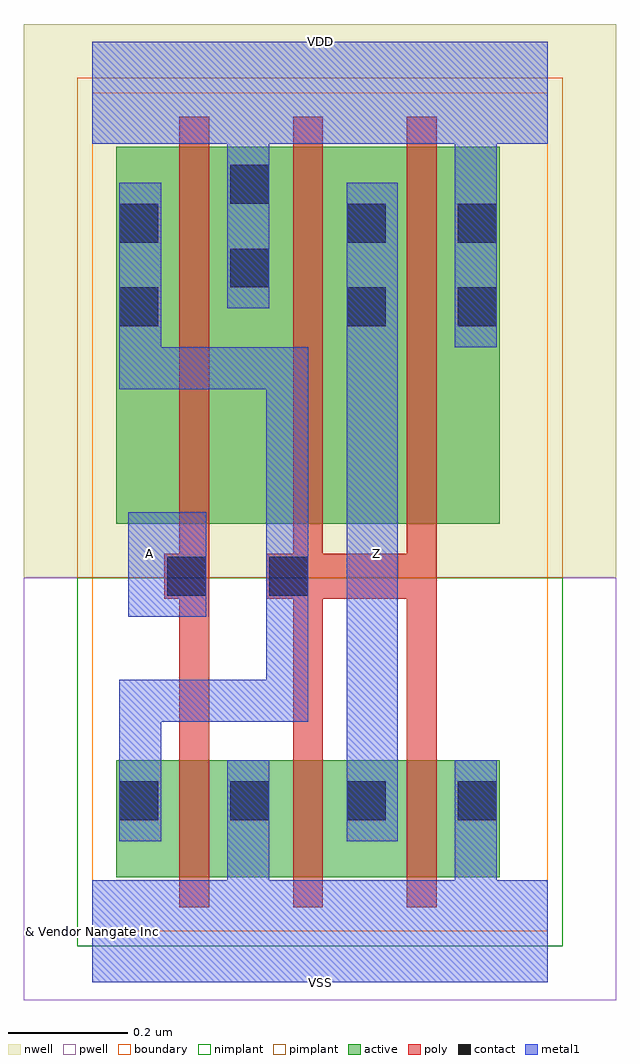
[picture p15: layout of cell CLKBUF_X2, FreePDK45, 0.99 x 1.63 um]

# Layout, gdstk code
import gdstk
lib = gdstk.Library(unit=1e-6, precision=1e-10)
def R(c, l, rs):  # rectangles x0, y0, x1, y1
    for r in rs: c.add(gdstk.rectangle(r[:2], r[2:], *l))
def P(c, l, *ps):  # polygons
    for p in ps: c.add(gdstk.Polygon(p, *l))
active = (1, 0)
pwell = (2, 0)
nwell = (3, 0)
nimplant = (4, 0)
pimplant = (5, 0)
poly = (9, 0)
contact = (10, 0)
metal1 = (11, 0)
boundary = (235, 0)

clkbuf_x2 = lib.new_cell('CLKBUF_X2')
R(clkbuf_x2, active, [(0.04,0.09,0.68,0.285), (0.04,0.68,0.68,1.31)])
R(clkbuf_x2, pwell, [(-0.115,-0.115,0.875,0.59)])
R(clkbuf_x2, nwell, [(-0.115,0.59,0.875,1.515)])
R(clkbuf_x2, nimplant, [(-0.025,-0.025,0.785,0.59)])
R(clkbuf_x2, pimplant, [(-0.025,0.59,0.785,1.425)])
P(clkbuf_x2, poly, [(0.145,0.04),(0.145,0.555),(0.12,0.555),(0.12,0.63),(0.145,0.63),(0.145,1.36),(0.195,1.36),(0.195,0.04)],
  [(0.335,0.04),(0.335,0.555),(0.29,0.555),(0.29,0.63),(0.335,0.63),(0.335,1.36),(0.385,1.36),(0.385,0.63),(0.525,0.63),(0.525,1.36),(0.575,1.36),(0.575,0.04),(0.525,0.04),(0.525,0.555),(0.385,0.555),(0.385,0.04)])
R(clkbuf_x2, contact, [(0.045,0.185,0.11,0.25), (0.23,0.185,0.295,0.25), (0.425,0.185,0.49,0.25), (0.61,0.185,0.675,0.25), (0.125,0.56,0.19,0.625), (0.295,0.56,0.36,0.625), (0.045,1.01,0.11,1.075), (0.425,1.01,0.49,1.075), (0.61,1.01,0.675,1.075), (0.23,1.075,0.295,1.14), (0.045,1.15,0.11,1.215), (0.425,1.15,0.49,1.215), (0.61,1.15,0.675,1.215), (0.23,1.215,0.295,1.28)])
R(clkbuf_x2, metal1, [(0.425,0.15,0.51,1.25), (0.06,0.525,0.19,0.7)])
P(clkbuf_x2, metal1, [(0.045,0.15),(0.045,0.42),(0.29,0.42),(0.29,0.905),(0.045,0.905),(0.045,1.25),(0.115,1.25),(0.115,0.975),(0.36,0.975),(0.36,0.35),(0.115,0.35),(0.115,0.15)],
  [(0,-0.085),(0,0.085),(0.225,0.085),(0.225,0.285),(0.295,0.285),(0.295,0.085),(0.605,0.085),(0.605,0.285),(0.675,0.285),(0.675,0.085),(0.76,0.085),(0.76,-0.085)],
  [(0.605,0.975),(0.605,1.315),(0.295,1.315),(0.295,1.04),(0.225,1.04),(0.225,1.315),(0,1.315),(0,1.485),(0.76,1.485),(0.76,1.315),(0.675,1.315),(0.675,0.975)])
R(clkbuf_x2, boundary, [(0,0,0.76,1.4)])
clkbuf_x2.add(gdstk.Label('A', (0.095,0.63), layer=11, texttype=0))
clkbuf_x2.add(gdstk.Label('VDD', (0.38,1.485), layer=11, texttype=0))
clkbuf_x2.add(gdstk.Label('VSS', (0.38,-0.085), layer=11, texttype=0))
clkbuf_x2.add(gdstk.Label('Z', (0.475,0.63), layer=11, texttype=0))
clkbuf_x2.add(gdstk.Label('& Vendor Nangate Inc', (0,0), layer=63, texttype=63))
clkbuf_x2.add(gdstk.Label('& Product Open Cell Library', (0,0), layer=63, texttype=63))
clkbuf_x2.add(gdstk.Label('& Version 2010_12', (0,0), layer=63, texttype=63))
clkbuf_x2.add(gdstk.Label('& Instance CLKBUF_X2', (0,0), layer=63, texttype=63))

lib.write_gds('CLKBUF_X2.gds')
